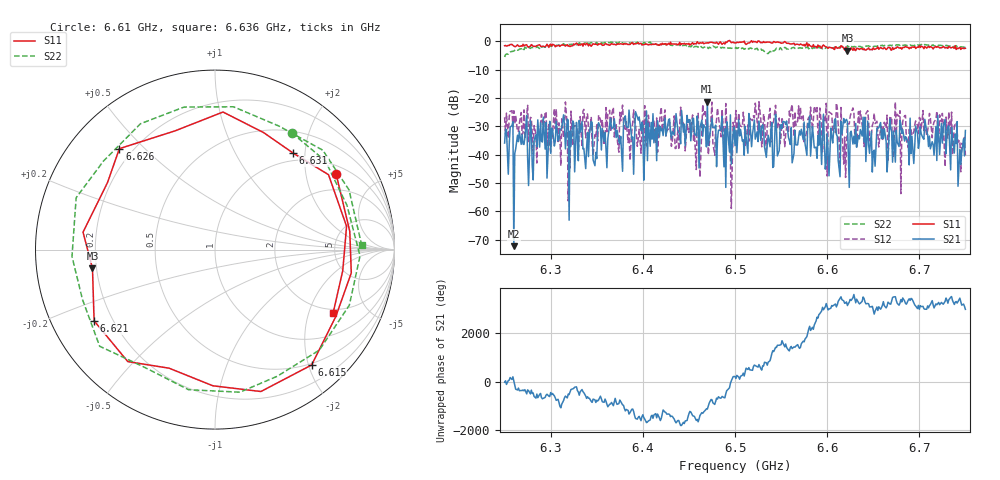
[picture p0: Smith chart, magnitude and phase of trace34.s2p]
# Hz S RI R 50
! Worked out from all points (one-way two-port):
!   401 points, 6.25 GHz to 6.75 GHz, reference 50 ohm
!   highest |S21| = -21.22 dB at 6.47 GHz (marker M1); lowest = -72.3 dB at 6.26 GHz (marker M2)
!   lowest |S11| = -3.2 dB at 6.622 GHz (marker M3), VSWR 5.46, Z = 9.2 - j3.69 ohm
!   |S11| at or under -10 dB: nowhere
!   |S22| runs from -5.5 to 0.0 dB; largest |S21 - S12| = 0.12
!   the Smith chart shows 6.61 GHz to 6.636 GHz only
!   S11 on the Smith chart (normalised r, x): 6.61 GHz: 1.30, +2.97; 6.615 GHz: 0.47, -2.05; 6.621 GHz: 0.13, -0.27; 6.626 GHz: 0.15, +0.42; 6.631 GHz: 0.86, +1.77; 6.636 GHz: 1.84, -2.93
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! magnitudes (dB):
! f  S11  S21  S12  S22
! 6.25 GHz  -1.5  -35.9  -26.8  -5.5
! 6.26 GHz  -1.6  -72.3  -24.5  -3.4
! 6.282 GHz  -1.7  -34.9  -29.7  -2.1
! 6.315 GHz  -1.4  -29.8  -30.3  -1.1
! 6.321 GHz  -1.8  -31.6  -44.7  -1.1
! 6.334 GHz  -0.8  -28.3  -37.3  -0.5
! 6.418 GHz  -1.3  -33.7  -28.9  -1.3
! 6.47 GHz  -0.4  -21.2  -28.2  -2.1
! 6.484 GHz  -0.1  -31.4  -31.4  -2.1
! 6.496 GHz  -0.4  -43.3  -59.0  -2.4
! 6.5 GHz  -0.5  -36.8  -28.3  -2.4
! 6.584 GHz  -1.9  -30.0  -31.2  -2.5
! 6.6 GHz  -2.1  -32.4  -47.5  -2.3
! 6.61 GHz  -2.0  -32.8  -21.7  -2.2
! 6.615 GHz  -1.5  -28.2  -23.3  -1.8
! 6.621 GHz  -2.1  -27.5  -36.8  -2.3
! 6.622 GHz  -3.2  -28.4  -29.1  -1.5
! 6.626 GHz  -2.2  -31.7  -25.2  -1.7
! 6.631 GHz  -3.2  -28.9  -31.1  -1.9
! 6.636 GHz  -2.5  -31.1  -24.5  -1.8
! 6.668 GHz  -2.1  -27.5  -26.9  -1.3
! 6.75 GHz  -2.4  -31.4  -40.2  -2.0
